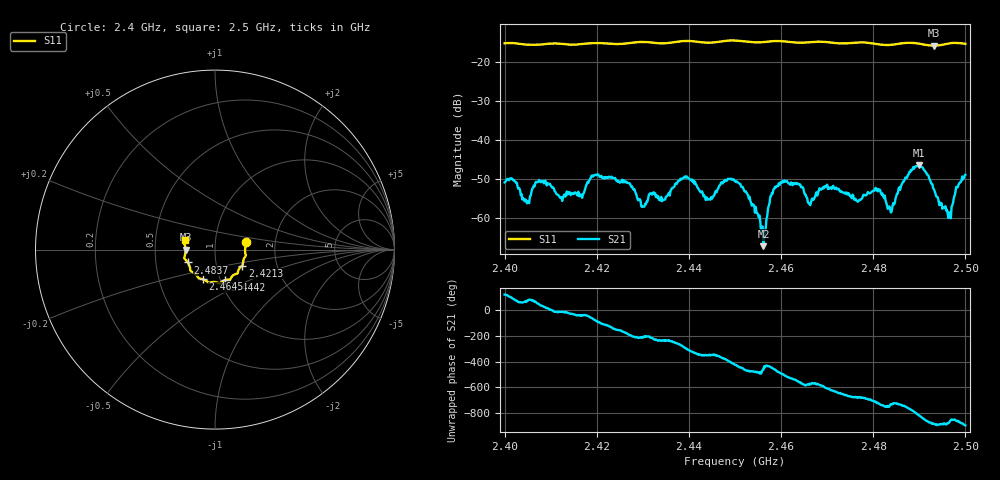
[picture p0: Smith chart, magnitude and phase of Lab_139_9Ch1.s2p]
# Hz S RI R 50
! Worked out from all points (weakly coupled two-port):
!   601 points, 2.4 GHz to 2.5 GHz, reference 50 ohm
!   highest |S21| = -46.44 dB at 2.4898 GHz (marker M1); lowest = -67.2 dB at 2.4562 GHz (marker M2)
!   lowest |S11| = -15.7 dB at 2.4932 GHz (marker M3), VSWR 1.39, Z = 35.9 - j0.0503 ohm
!   |S11| at or under -10 dB: start of sweep to end of sweep
!   S12 and S22 are empty: the file has one direction only
!   S11 on the Smith chart (normalised r, x): 2.4 GHz: 1.41, +0.12; 2.4213 GHz: 1.33, -0.25; 2.4442 GHz: 1.05, -0.37; 2.4645 GHz: 0.83, -0.29; 2.4837 GHz: 0.73, -0.11; 2.5 GHz: 0.71, +0.07
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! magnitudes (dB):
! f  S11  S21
! 2.4 GHz  -15.1  -50.8
! 2.4048 GHz  -15.5  -56.2
! 2.4078 GHz  -15.4  -50.8
! 2.4167 GHz  -15.3  -54.2
! 2.4213 GHz  -15.1  -49.5
! 2.4302 GHz  -14.8  -57.0
! 2.4333 GHz  -15.1  -54.4
! 2.4393 GHz  -14.5  -49.6
! 2.4442 GHz  -15.0  -55.3
! 2.45 GHz  -14.4  -50.6
! 2.4562 GHz  -14.8  -67.2
! 2.4588 GHz  -14.5  -52.1
! 2.4645 GHz  -15.0  -52.0
! 2.4667 GHz  -14.8  -55.1
! 2.4695 GHz  -14.8  -52.1
! 2.481 GHz  -15.4  -53.1
! 2.4833 GHz  -15.6  -57.2
! 2.4837 GHz  -15.5  -57.6
! 2.4898 GHz  -15.2  -46.4
! 2.4932 GHz  -15.7  -52.6
! 2.4963 GHz  -15.2  -60.0
! 2.5 GHz  -15.3  -48.8
